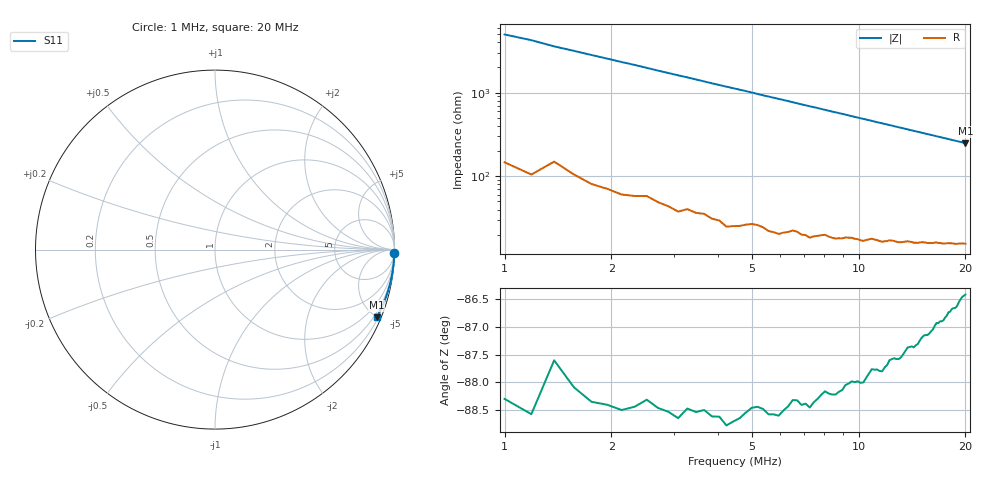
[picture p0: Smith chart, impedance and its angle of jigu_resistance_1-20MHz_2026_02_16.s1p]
# HZ S RI R 50
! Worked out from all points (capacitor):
!   101 points, 1 MHz to 20 MHz, reference 50 ohm
!   read as one part to ground: C = 32.1 pF near 1 MHz
!   lowest |Z| = 249 ohm at 20 MHz (marker M1)
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1000000  0.9992 -0.0201
1190000  0.9991 -0.0236
1380000  0.9984 -0.0279
2140000  0.998 -0.043
3470000  0.9958 -0.0694
4230000  0.9946 -0.0845
4800000  0.993 -0.0954
5750000  0.9906 -0.1144
7270000  0.9856 -0.1442
7650000  0.984 -0.1511
8220000  0.9815 -0.1626
8980000  0.9784 -0.1769
9930000  0.9737 -0.1954
1.05e7  0.9709 -0.2059
1.126e7  0.9665 -0.2207
1.164e7  0.9647 -0.2276
1.221e7  0.961 -0.238
1.297e7  0.9565 -0.2525
1.354e7  0.9526 -0.2626
1.43e7  0.9475 -0.277
1.468e7  0.945 -0.2836
1.525e7  0.9405 -0.2938
1.563e7  0.9378 -0.3008
1.62e7  0.9335 -0.3106
1.696e7  0.9272 -0.3243
1.772e7  0.9211 -0.3373
1.886e7  0.9114 -0.357
2e7  0.9007 -0.3762
